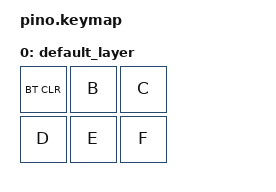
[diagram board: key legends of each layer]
#include <behaviors.dtsi>
#include <dt-bindings/zmk/keys.h>
#include <dt-bindings/zmk/bt.h>

/ {
    keymap {
        compatible = "zmk,keymap";

        default_layer {
            /* D2の1キーだけ物理配線されているので、一時的にbt BT_CLRを割り当ててボンドクリア用に使う */
            bindings = <
                &bt BT_CLR    &kp B    &kp C
                &kp D         &kp E    &kp F
            >;
        };
    };
};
